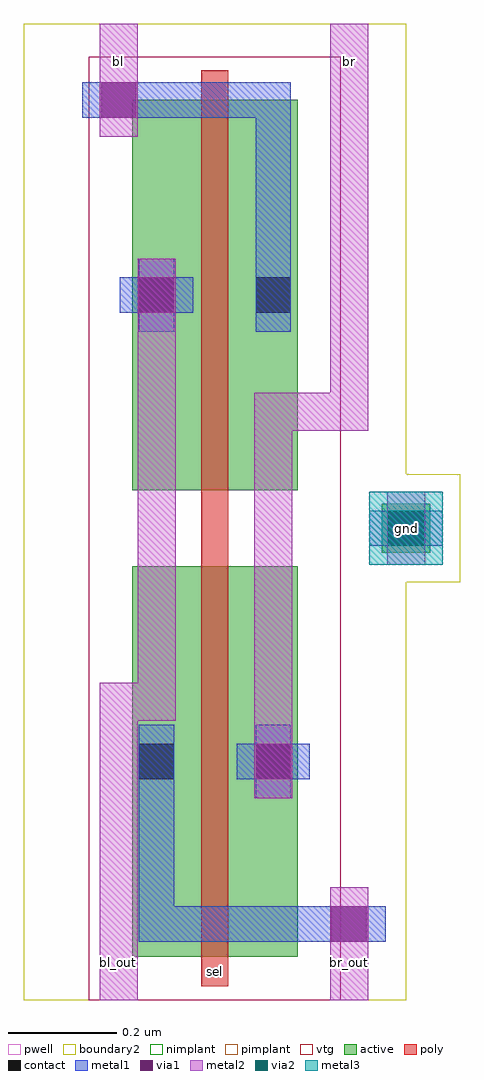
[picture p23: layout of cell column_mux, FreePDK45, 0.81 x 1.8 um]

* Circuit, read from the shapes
.subckt column_mux bl bl_out br br_out gnd sel
M1 br sel br_out gnd nfet w=0.72u l=0.05u
M2 bl sel bl_out gnd nfet w=0.72u l=0.05u
.ends

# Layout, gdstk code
import gdstk
lib = gdstk.Library(unit=1e-6, precision=5e-10)
def R(c, l, rs):  # rectangles x0, y0, x1, y1
    for r in rs: c.add(gdstk.rectangle(r[:2], r[2:], *l))
def A(c, l, x, y, w, h, nx, ny, dx, dy):  # array of equal rectangles
    R(c, l, [(x+i*dx, y+j*dy, x+i*dx+w, y+j*dy+h) for i in range(nx) for j in range(ny)])
active = (1, 0)
pwell = (2, 0)
nimplant = (4, 0)
pimplant = (5, 0)
vtg = (6, 0)
poly = (9, 0)
contact = (10, 0)
metal1 = (11, 0)
via1 = (12, 0)
metal2 = (13, 0)
via2 = (14, 0)
metal3 = (15, 0)
boundary2 = (239, 0)

contact_9 = lib.new_cell('contact_9')
R(contact_9, active, [(0,0.0225,0.09,0.1125)])
R(contact_9, pwell, [(-0.055,-0.0325,0.145,0.1675)])
R(contact_9, nimplant, [(0,0.0225,0.09,0.1125)])
R(contact_9, contact, [(0.0125,0.035,0.0775,0.1)])
R(contact_9, metal1, [(0.0125,0,0.0775,0.135)])
R(contact_9, boundary2, [(-0.055,-0.0325,0.145,0.1675)])

nmos_m1_w0_720_sm1_dm1 = lib.new_cell('nmos_m1_w0_720_sm1_dm1')
R(nmos_m1_w0_720_sm1_dm1, active, [(0,0,0.305,0.72)])
R(nmos_m1_w0_720_sm1_dm1, pwell, [(-0.08,-0.08,0.385,0.8)])
R(nmos_m1_w0_720_sm1_dm1, nimplant, [(0,0,0.305,0.72)])
R(nmos_m1_w0_720_sm1_dm1, vtg, [(-0.08,-0.08,0.385,0.8)])
R(nmos_m1_w0_720_sm1_dm1, poly, [(0.1275,-0.055,0.1775,0.775), (0.1275,-0.055,0.1775,0.775)])
R(nmos_m1_w0_720_sm1_dm1, metal1, [(0.0125,0.2925,0.0775,0.4275), (0.2275,0.2925,0.2925,0.4275)])
R(nmos_m1_w0_720_sm1_dm1, boundary2, [(-0.08,-0.08,0.385,0.8)])
nmos_m1_w0_720_sm1_dm1.add(gdstk.Reference(contact_9, (0,0.2925)))
nmos_m1_w0_720_sm1_dm1.add(gdstk.Reference(contact_9, (0.215,0.2925)))
nmos_m1_w0_720_sm1_dm1.add(gdstk.Label('G', (0.1525,0.36), layer=9, texttype=0))
nmos_m1_w0_720_sm1_dm1.add(gdstk.Label('S', (0.045,0.36), layer=11, texttype=0))
nmos_m1_w0_720_sm1_dm1.add(gdstk.Label('D', (0.26,0.36), layer=11, texttype=0))

contact_6 = lib.new_cell('contact_6')
R(contact_6, metal1, [(0,0.035,0.135,0.1)])
R(contact_6, via1, [(0.035,0.035,0.1,0.1)])
R(contact_6, metal2, [(0.0325,0,0.1025,0.135)])
R(contact_6, boundary2, [(0,0,0.135,0.135)])

contact_21 = lib.new_cell('contact_21')
R(contact_21, active, [(0.0225,0,0.1125,0.09)])
R(contact_21, pwell, [(-0.0325,-0.055,0.1675,0.145)])
R(contact_21, pimplant, [(0.0225,0,0.1125,0.09)])
R(contact_21, contact, [(0.035,0.0125,0.1,0.0775)])
R(contact_21, metal1, [(0,0.0125,0.135,0.0775)])
R(contact_21, boundary2, [(-0.0325,-0.055,0.1675,0.145)])

contact_7 = lib.new_cell('contact_7')
R(contact_7, metal2, [(0.0325,0,0.1025,0.135)])
R(contact_7, via2, [(0.035,0.035,0.1,0.1)])
R(contact_7, metal3, [(0,0.0325,0.135,0.1025)])
R(contact_7, boundary2, [(0,0,0.135,0.135)])

column_mux = lib.new_cell('column_mux')
R(column_mux, pwell, [(0,0,0.705,1.8)])
R(column_mux, poly, [(0.3275,0.025,0.3775,0.08), (0.3275,0.8,0.3775,0.94)])
R(column_mux, metal1, [(0.2125,0.1075,0.2775,0.1725), (0.245,0.1075,0.6,0.1725), (0.2125,0.14,0.2775,0.44), (0.4275,1.3,0.4925,1.66), (0.14,1.6275,0.46,1.6925), (0.4275,1.6275,0.4925,1.6925)])
A(column_mux, metal2, 0.14, 0.515, 0.07, 0.07, 3, 1, 0.035, 0)
R(column_mux, metal2, [(0.14,0,0.21,0.14), (0.565,0,0.635,0.14), (0.14,0.14,0.21,0.55), (0.425,0.44,0.495,1.085), (0.21,0.55,0.28,1.3), (0.425,1.05,0.495,1.12), (0.46,1.05,0.6,1.12), (0.565,1.05,0.635,1.12), (0.565,1.085,0.635,1.66), (0.14,1.66,0.21,1.8), (0.565,1.66,0.635,1.8)])
R(column_mux, metal3, [(0.6375,0.8025,0.7725,0.9375)])
R(column_mux, boundary2, [(0,0,0.705,1.8)])
column_mux.add(gdstk.Reference(nmos_m1_w0_720_sm1_dm1, (0.2,0.08)))
column_mux.add(gdstk.Reference(nmos_m1_w0_720_sm1_dm1, (0.2,0.94)))
column_mux.add(gdstk.Reference(contact_6, (0.1075,1.5925)))
column_mux.add(gdstk.Reference(contact_6, (0.5325,0.0725)))
column_mux.add(gdstk.Reference(contact_6, (0.1775,1.2325)))
column_mux.add(gdstk.Reference(contact_6, (0.3925,0.3725)))
column_mux.add(gdstk.Reference(contact_21, (0.6375,0.825)))
column_mux.add(gdstk.Reference(contact_6, (0.6375,0.8025)))
column_mux.add(gdstk.Reference(contact_6, (0.6375,0.8025)))
column_mux.add(gdstk.Reference(contact_7, (0.6375,0.8025)))
column_mux.add(gdstk.Label('sel', (0.3525,0.0525), layer=9, texttype=0))
column_mux.add(gdstk.Label('bl', (0.175,1.73), layer=13, texttype=0))
column_mux.add(gdstk.Label('br', (0.6,1.73), layer=13, texttype=0))
column_mux.add(gdstk.Label('bl_out', (0.175,0.07), layer=13, texttype=0))
column_mux.add(gdstk.Label('br_out', (0.6,0.07), layer=13, texttype=0))
column_mux.add(gdstk.Label('gnd', (0.705,0.87), layer=15, texttype=0))

lib.write_gds('column_mux.gds')
